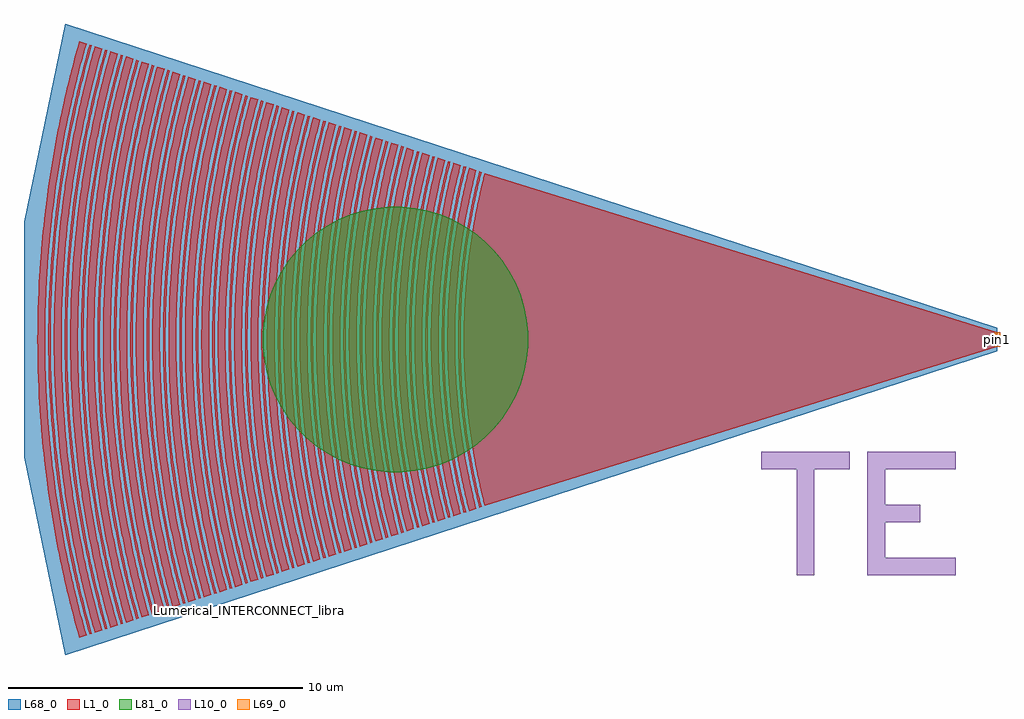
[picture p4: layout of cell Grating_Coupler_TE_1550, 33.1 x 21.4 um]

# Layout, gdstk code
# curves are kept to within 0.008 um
import gdstk
lib = gdstk.Library(unit=1e-6, precision=1e-09)
def P(c, l, *ps):  # polygons
    for p in ps: c.add(gdstk.Polygon(p, *l))
L1_0 = (1, 0)
L10_0 = (10, 0)
L68_0 = (68, 0)
L69_0 = (69, 0)
L81_0 = (81, 0)

te1550_subgc_neg31_oxide = lib.new_cell('TE1550_SubGC_neg31_oxide')
P(te1550_subgc_neg31_oxide, L1_0, [(-18.382,-3.48),(-18.501,-2.574),(-18.568,-1.873),(-18.622,-0.995),(-18.643,-0.117),(-18.629,0.82),(-18.577,1.756),(-18.501,2.574),(-18.382,3.48)],
  [(-18.195,-1.905),(-18.251,-1.033),(-18.274,-0.115),(-18.256,0.918),(-18.233,1.377),(-18.195,1.905)],
  [(-18.938,-3.517),(-19.038,-2.77),(-19.126,-1.869),(-19.177,-1.025),(-19.199,-0.121),(-19.182,0.905),(-19.135,1.748),(-19.038,2.77),(-18.938,3.517)],
  [(-18.751,-1.927),(-18.806,-1.065),(-18.83,-0.118),(-18.823,0.592),(-18.811,0.946),(-18.791,1.36),(-18.751,1.927)],
  [(-19.494,-3.557),(-19.616,-2.603),(-19.689,-1.799),(-19.735,-0.993),(-19.755,-0.124),(-19.742,0.807),(-19.689,1.799),(-19.616,2.603),(-19.494,3.557)],
  [(-19.307,-1.948),(-19.364,-1.035),(-19.386,-0.122),(-19.369,0.913),(-19.349,1.339),(-19.307,1.948)],
  [(-20.05,-3.596),(-20.174,-2.613),(-20.247,-1.786),(-20.293,-0.957),(-20.311,-0.128),(-20.303,0.638),(-20.256,1.658),(-20.174,2.613),(-20.05,3.596)],
  [(-19.863,-1.966),(-19.919,-1.065),(-19.942,-0.125),(-19.937,0.501),(-19.924,0.94),(-19.9,1.44),(-19.863,1.966)],
  [(-20.606,-3.633),(-20.711,-2.815),(-20.801,-1.834),(-20.843,-1.114),(-20.867,-0.131),(-20.853,0.852),(-20.801,1.834),(-20.711,2.815),(-20.606,3.633)],
  [(-20.419,-1.984),(-20.477,-1.03),(-20.498,-0.129),(-20.482,0.901),(-20.458,1.416),(-20.419,1.984)],
  [(-21.162,-3.673),(-21.262,-2.89),(-21.355,-1.883),(-21.401,-1.077),(-21.423,-0.135),(-21.406,0.942),(-21.355,1.883),(-21.262,2.89),(-21.162,3.673)],
  [(-20.975,-2.009),(-21.013,-1.455),(-21.035,-0.992),(-21.054,-0.132),(-21.04,0.86),(-21.013,1.455),(-20.975,2.009)],
  [(-21.079,-6.849),(-21.25,-6.174),(-21.432,-5.359),(-21.599,-4.473),(-21.736,-3.583),(-21.856,-2.552),(-21.923,-1.725),(-21.964,-0.898),(-21.979,-0.138),(-21.964,0.898),(-21.923,1.725),(-21.856,2.552),(-21.772,3.308),(-21.622,4.336),(-21.473,5.155),(-21.298,5.971),(-21.079,6.849),(-20.832,6.769),(-21.048,5.9),(-21.207,5.162),(-21.356,4.353),(-21.47,3.608),(-21.598,2.522),(-21.664,1.705),(-21.702,0.955),(-21.719,0.136),(-21.702,-0.955),(-21.664,-1.705),(-21.598,-2.522),(-21.515,-3.269),(-21.356,-4.353),(-21.207,-5.162),(-21.048,-5.9),(-20.832,-6.769)],
  [(-21.531,-2.035),(-21.575,-1.357),(-21.593,-0.95),(-21.61,-0.136),(-21.606,0.475),(-21.593,0.95),(-21.575,1.357),(-21.531,2.035)],
  [(-22.273,-3.751),(-22.364,-3.04),(-22.452,-2.122),(-22.517,-0.991),(-22.535,-0.142),(-22.522,0.849),(-22.482,1.698),(-22.387,2.828),(-22.273,3.751)],
  [(-22.087,-2.053),(-22.146,-1.044),(-22.166,-0.139),(-22.162,0.487),(-22.146,1.044),(-22.087,2.053)],
  [(-22.829,-3.793),(-22.923,-3.042),(-23.011,-2.102),(-23.067,-1.16),(-23.091,-0.145),(-23.075,0.943),(-23.036,1.74),(-22.946,2.826),(-22.829,3.793)],
  [(-22.642,-2.083),(-22.677,-1.57),(-22.704,-0.999),(-22.722,-0.143),(-22.719,0.428),(-22.704,0.999),(-22.677,1.57),(-22.642,2.083)],
  [(-23.385,-3.827),(-23.498,-2.893),(-23.581,-1.93),(-23.628,-1.04),(-23.647,-0.149),(-23.633,0.891),(-23.586,1.856),(-23.498,2.893),(-23.385,3.827)],
  [(-23.198,-2.104),(-23.227,-1.681),(-23.262,-0.951),(-23.278,-0.146),(-23.276,0.366),(-23.262,0.951),(-23.227,1.681),(-23.198,2.104)],
  [(-23.943,-3.848),(-24.065,-2.81),(-24.135,-1.976),(-24.186,-0.988),(-24.203,-0.152),(-24.191,0.836),(-24.15,1.748),(-24.065,2.81),(-23.943,3.848)],
  [(-23.756,-2.095),(-23.809,-1.198),(-23.834,-0.15),(-23.828,0.599),(-23.815,1.048),(-23.756,2.095)],
  [(-24.499,-3.887),(-24.625,-2.797),(-24.689,-2.021),(-24.739,-1.089),(-24.759,-0.156),(-24.749,0.778),(-24.709,1.71),(-24.625,2.797),(-24.499,3.887)],
  [(-24.312,-2.118),(-24.361,-1.302),(-24.382,-0.69),(-24.39,-0.153),(-24.373,0.996),(-24.341,1.685),(-24.312,2.118)],
  [(-25.055,-3.92),(-25.185,-2.78),(-25.254,-1.908),(-25.3,-0.954),(-25.315,-0.159),(-25.3,0.954),(-25.254,1.908),(-25.185,2.78),(-25.055,3.92)],
  [(-24.868,-2.141),(-24.916,-1.332),(-24.946,-0.157),(-24.931,0.94),(-24.9,1.645),(-24.868,2.141)],
  [(-25.611,-3.958),(-25.722,-3.003),(-25.803,-2.031),(-25.853,-1.056),(-25.871,-0.163),(-25.853,1.056),(-25.803,2.031),(-25.722,3.003),(-25.611,3.958)],
  [(-25.424,-2.162),(-25.478,-1.202),(-25.502,-0.16),(-25.497,0.561),(-25.484,1.041),(-25.455,1.682),(-25.424,2.162)],
  [(-26.167,-3.991),(-26.274,-3.068),(-26.357,-2.074),(-26.402,-1.245),(-26.427,-0.166),(-26.416,0.83),(-26.368,1.909),(-26.298,2.82),(-26.167,3.991)],
  [(-25.98,-2.181),(-26.03,-1.31),(-26.058,-0.164),(-26.045,0.9),(-26.014,1.637),(-25.98,2.181)],
  [(-26.723,-4.029),(-26.843,-2.963),(-26.917,-2.033),(-26.964,-1.102),(-26.983,-0.17),(-26.964,1.102),(-26.917,2.033),(-26.843,2.963),(-26.723,4.029)],
  [(-26.536,-2.2),(-26.589,-1.254),(-26.614,-0.167),(-26.598,1.003),(-26.569,1.672),(-26.536,2.2)],
  [(-27.278,-4.073),(-27.387,-3.111),(-27.466,-2.162),(-27.513,-1.297),(-27.539,-0.087),(-27.525,0.952),(-27.477,1.989),(-27.387,3.111),(-27.278,4.073)],
  [(-27.091,-2.232),(-27.144,-1.28),(-27.163,-0.683),(-27.17,-0.085),(-27.156,0.939),(-27.133,1.536),(-27.091,2.232)],
  [(-27.834,-4.107),(-27.948,-3.085),(-28.026,-2.117),(-28.078,-1.059),(-28.095,-0.088),(-28.078,1.059),(-28.037,1.941),(-27.948,3.085),(-27.834,4.107)],
  [(-27.647,-2.248),(-27.703,-1.219),(-27.726,-0.087),(-27.712,0.958),(-27.688,1.567),(-27.647,2.248)],
  [(-28.39,-4.14),(-28.509,-3.057),(-28.586,-2.069),(-28.639,-0.9),(-28.651,-0.09),(-28.639,0.9),(-28.586,2.069),(-28.509,3.057),(-28.39,4.14)],
  [(-28.203,-2.264),(-28.234,-1.776),(-28.265,-1.066),(-28.282,-0.089),(-28.265,1.066),(-28.234,1.776),(-28.203,2.264)],
  [(-28.946,-4.174),(-29.062,-3.116),(-29.135,-2.201),(-29.186,-1.193),(-29.207,-0.092),(-29.197,0.826),(-29.152,1.926),(-29.062,3.116),(-28.946,4.174)],
  [(-28.759,-2.29),(-28.814,-1.268),(-28.838,-0.091),(-28.834,0.544),(-28.814,1.268),(-28.759,2.29)],
  [(-29.502,-4.207),(-29.615,-3.175),(-29.701,-2.056),(-29.753,-0.841),(-29.763,-0.094),(-29.753,0.841),(-29.701,2.056),(-29.615,3.175),(-29.502,4.207)],
  [(-29.315,-2.307),(-29.373,-1.2),(-29.394,-0.092),(-29.391,0.462),(-29.373,1.2),(-29.315,2.307)],
  [(-30.058,-4.243),(-30.185,-3.045),(-30.25,-2.19),(-30.297,-1.238),(-30.319,-0.095),(-30.306,0.952),(-30.25,2.19),(-30.185,3.045),(-30.058,4.243)],
  [(-29.871,-2.32),(-29.925,-1.317),(-29.944,-0.659),(-29.95,-0.094),(-29.944,0.659),(-29.925,1.317),(-29.871,2.32)],
  [(-30.614,-4.275),(-30.702,-3.487),(-30.798,-2.327),(-30.856,-1.164),(-30.875,-0.097),(-30.862,0.97),(-30.816,2.036),(-30.738,3.101),(-30.614,4.275)],
  [(-30.427,-2.34),(-30.484,-1.246),(-30.506,-0.096),(-30.503,0.479),(-30.484,1.246),(-30.427,2.34)],
  [(-31.17,-4.309),(-31.264,-3.452),(-31.359,-2.27),(-31.408,-1.283),(-31.431,-0.099),(-31.42,0.889),(-31.371,2.073),(-31.3,3.058),(-31.17,4.309)],
  [(-30.983,-2.357),(-31.043,-1.171),(-31.062,-0.098),(-31.059,0.488),(-31.043,1.171),(-30.983,2.357)],
  [(-31.726,-4.337),(-31.826,-3.412),(-31.92,-2.21),(-31.967,-1.206),(-31.987,-0.1),(-31.976,0.904),(-31.926,2.109),(-31.862,3.012),(-31.726,4.337)],
  [(-31.539,-2.382),(-31.595,-1.291),(-31.618,-0.099),(-31.615,0.497),(-31.595,1.291),(-31.539,2.382)],
  [(-32.282,-4.37),(-32.379,-3.472),(-32.468,-2.35),(-32.526,-1.124),(-32.543,-0.102),(-32.529,1.022),(-32.492,1.942),(-32.415,3.064),(-32.282,4.37)],
  [(-32.095,-2.395),(-32.154,-1.213),(-32.174,-0.101),(-32.169,0.606),(-32.154,1.213),(-32.095,2.395)],
  [(-17.378,-5.646),(-17.513,-5.088),(-17.678,-4.303),(-17.788,-3.684),(-17.903,-2.893),(-17.985,-2.157),(-18.043,-1.42),(-18.077,-0.682),(-18.087,-0.114),(-18.08,0.568),(-18.05,1.306),(-17.99,2.101),(-17.924,2.724),(-17.815,3.514),(-17.678,4.303),(-17.513,5.088),(-17.378,5.646),(0,0.25),(0,-0.25)],
  [(-18.751,0.236),(-18.751,1.927),(-18.686,2.6),(-18.571,3.482),(-18.444,4.245),(-18.266,5.121),(-18.084,5.876),(-18.01,5.852),(-18.204,5.041),(-18.368,4.227),(-18.503,3.409),(-18.609,2.589),(-18.706,1.472),(-18.731,1.001)],
  [(-25.424,0.16),(-25.424,2.162),(-25.339,3.12),(-25.255,3.837),(-25.116,4.791),(-24.946,5.741),(-24.709,6.843),(-24.43,7.938),(-24.356,7.914),(-24.634,6.822),(-24.839,5.881),(-25,5.014),(-25.178,3.826),(-25.278,2.952),(-25.352,2.075),(-25.397,1.278)],
  [(-22.273,0.35),(-22.273,3.751),(-22.119,4.726),(-21.971,5.494),(-21.801,6.259),(-21.608,7.021),(-21.361,6.941),(-21.599,5.982),(-21.761,5.224),(-21.889,4.533),(-22.028,3.631),(-22.114,2.935),(-22.193,2.098),(-22.249,1.189)],
  [(-26.167,0.164),(-26.167,3.991),(-26.011,5.047),(-25.815,6.112),(-25.581,7.171),(-25.31,8.224),(-25.062,8.143),(-25.292,7.262),(-25.512,6.295),(-25.7,5.322),(-25.868,4.264),(-26.016,3.038),(-26.098,2.054),(-26.139,1.315)],
  [(-19.863,0.25),(-19.863,1.966),(-19.758,3.002),(-19.635,3.874),(-19.516,4.556),(-19.337,5.421),(-19.142,6.22),(-19.068,6.195),(-19.289,5.277),(-19.44,4.538),(-19.587,3.673),(-19.696,2.866),(-19.772,2.12),(-19.822,1.435),(-19.851,0.811)],
  [(-25.98,0.163),(-25.98,2.181),(-25.891,3.188),(-25.815,3.84),(-25.662,4.895),(-25.472,5.946),(-25.245,6.991),(-24.959,8.11),(-24.884,8.085),(-25.15,7.051),(-25.38,6.009),(-25.572,4.961),(-25.738,3.828),(-25.846,2.853),(-25.917,1.958),(-25.967,0.898)],
  [(-22.087,0.278),(-22.087,2.053),(-22.021,2.782),(-21.957,3.336),(-21.817,4.304),(-21.655,5.199),(-21.494,5.953),(-21.257,6.907),(-21.183,6.883),(-21.419,5.932),(-21.579,5.181),(-21.729,4.358),(-21.871,3.394),(-21.971,2.495),(-22.027,1.803),(-22.068,1.041)],
  [(-26.723,0.168),(-26.723,4.029),(-26.557,5.152),(-26.356,6.24),(-26.156,7.155),(-25.838,8.395),(-25.591,8.315),(-25.866,7.251),(-26.086,6.263),(-26.259,5.352),(-26.44,4.188),(-26.568,3.102),(-26.658,2.014),(-26.707,1.007)],
  [(-18.382,0.231),(-18.382,3.48),(-18.184,4.608),(-18.047,5.243),(-17.906,5.818),(-17.659,5.738),(-17.81,5.114),(-17.932,4.544),(-18.068,3.801),(-18.188,2.998),(-18.314,1.789),(-18.36,1.039)],
  [(-26.536,0.167),(-26.536,2.2),(-26.468,3.006),(-26.365,3.921),(-26.208,4.999),(-25.997,6.155),(-25.761,7.222),(-25.487,8.281),(-25.413,8.257),(-25.686,7.201),(-25.921,6.137),(-26.118,5.067),(-26.288,3.91),(-26.374,3.164),(-26.466,2.083),(-26.511,1.25)],
  [(-22.829,0.359),(-22.829,3.793),(-22.688,4.698),(-22.54,5.486),(-22.369,6.271),(-22.137,7.193),(-21.89,7.112),(-22.102,6.271),(-22.287,5.425),(-22.481,4.362),(-22.596,3.579),(-22.688,2.794),(-22.752,2.079),(-22.804,1.219)],
  [(-27.278,0.257),(-27.278,4.073),(-27.117,5.173),(-26.897,6.368),(-26.652,7.471),(-26.367,8.567),(-26.12,8.487),(-26.381,7.485),(-26.644,6.308),(-26.833,5.294),(-26.989,4.275),(-27.084,3.508),(-27.188,2.398),(-27.253,1.285)],
  [(-20.606,0.259),(-20.606,3.633),(-20.488,4.377),(-20.353,5.09),(-20.167,5.928),(-20.022,6.505),(-19.774,6.425),(-19.948,5.727),(-20.139,4.835),(-20.277,4.066),(-20.382,3.36),(-20.474,2.586),(-20.542,1.812),(-20.586,1.036)],
  [(-27.091,0.255),(-27.091,2.232),(-27.012,3.154),(-26.893,4.173),(-26.726,5.272),(-26.538,6.283),(-26.256,7.539),(-26.016,8.453),(-25.942,8.429),(-26.181,7.517),(-26.445,6.349),(-26.664,5.173),(-26.827,4.076),(-26.943,3.06),(-27.026,2.042),(-27.066,1.276)],
  [(-22.642,0.356),(-22.642,2.083),(-22.58,2.78),(-22.488,3.562),(-22.374,4.341),(-22.195,5.329),(-22.03,6.101),(-21.786,7.079),(-21.712,7.055),(-21.922,6.22),(-22.105,5.381),(-22.274,4.467),(-22.411,3.55),(-22.495,2.842),(-22.566,2.062),(-22.614,1.28)],
  [(-27.834,0.262),(-27.834,4.107),(-27.663,5.277),(-27.438,6.496),(-27.208,7.535),(-26.896,8.739),(-26.649,8.659),(-26.874,7.808),(-27.113,6.78),(-27.318,5.747),(-27.514,4.535),(-27.645,3.492),(-27.742,2.447),(-27.805,1.399)],
  [(-19.494,0.245),(-19.494,3.557),(-19.379,4.268),(-19.262,4.881),(-19.129,5.492),(-18.964,6.162),(-18.717,6.081),(-18.879,5.421),(-19.046,4.636),(-19.146,4.091),(-19.277,3.24),(-19.371,2.447),(-19.43,1.775),(-19.47,1.102)],
  [(-27.647,0.261),(-27.647,2.248),(-27.573,3.132),(-27.465,4.085),(-27.286,5.294),(-27.079,6.411),(-26.832,7.522),(-26.545,8.625),(-26.471,8.601),(-26.777,7.416),(-27.003,6.393),(-27.195,5.365),(-27.365,4.246),(-27.487,3.209),(-27.562,2.344),(-27.618,1.389)],
  [(-23.385,0.367),(-23.385,3.827),(-23.27,4.591),(-23.095,5.545),(-22.887,6.494),(-22.666,7.364),(-22.418,7.284),(-22.654,6.351),(-22.842,5.484),(-22.978,4.758),(-23.115,3.885),(-23.208,3.154),(-23.3,2.202),(-23.356,1.322)],
  [(-28.39,0.268),(-28.39,4.14),(-28.238,5.203),(-28.015,6.447),(-27.743,7.684),(-27.425,8.911),(-27.177,8.83),(-27.408,7.963),(-27.671,6.827),(-27.878,5.773),(-28.05,4.714),(-28.187,3.651),(-28.296,2.495),(-28.364,1.338)],
  [(-20.419,0.257),(-20.419,1.984),(-20.331,2.893),(-20.22,3.726),(-20.069,4.619),(-19.872,5.571),(-19.671,6.391),(-19.597,6.367),(-19.797,5.55),(-20.005,4.538),(-20.153,3.648),(-20.246,2.946),(-20.325,2.179),(-20.369,1.603),(-20.404,0.898)],
  [(-28.203,0.266),(-28.203,2.264),(-28.134,3.106),(-28.015,4.167),(-27.832,5.4),(-27.62,6.539),(-27.346,7.759),(-27.074,8.797),(-27,8.773),(-27.292,7.651),(-27.544,6.521),(-27.77,5.297),(-27.926,4.243),(-28.048,3.186),(-28.129,2.214),(-28.184,1.152)],
  [(-23.198,0.364),(-23.198,2.104),(-23.139,2.776),(-23.047,3.576),(-22.895,4.592),(-22.736,5.458),(-22.549,6.321),(-22.315,7.25),(-22.24,7.226),(-22.457,6.372),(-22.646,5.512),(-22.843,4.432),(-22.979,3.492),(-23.069,2.694),(-23.125,2.039),(-23.169,1.312)],
  [(-28.946,0.273),(-28.946,4.174),(-28.785,5.304),(-28.677,5.939),(-28.52,6.752),(-28.258,7.922),(-27.953,9.083),(-27.706,9.002),(-27.986,7.94),(-28.23,6.871),(-28.454,5.706),(-28.624,4.626),(-28.758,3.541),(-28.863,2.363),(-28.923,1.273)],
  [(-18.938,0.238),(-18.938,3.517),(-18.836,4.148),(-18.723,4.744),(-18.581,5.398),(-18.435,5.99),(-18.188,5.91),(-18.358,5.209),(-18.517,4.445),(-18.651,3.679),(-18.744,3.029),(-18.831,2.259),(-18.876,1.724),(-18.92,0.952)],
  [(-28.759,0.271),(-28.759,2.29),(-28.678,3.257),(-28.565,4.249),(-28.378,5.506),(-28.161,6.667),(-27.924,7.733),(-27.603,8.969),(-27.528,8.944),(-27.806,7.889),(-28.085,6.649),(-28.316,5.402),(-28.476,4.327),(-28.582,3.428),(-28.677,2.348),(-28.736,1.265)],
  [(-23.943,0.15),(-23.943,3.848),(-23.79,4.849),(-23.605,5.824),(-23.404,6.72),(-23.194,7.536),(-22.947,7.456),(-23.172,6.574),(-23.368,5.688),(-23.535,4.797),(-23.684,3.827),(-23.807,2.78),(-23.876,1.955),(-23.921,1.128)],
  [(-29.502,0.278),(-29.502,4.207),(-29.403,4.941),(-29.286,5.682),(-29.08,6.788),(-28.771,8.163),(-28.482,9.254),(-28.235,9.174),(-28.543,8.001),(-28.77,7.003),(-28.983,5.907),(-29.173,4.714),(-29.31,3.609),(-29.424,2.316),(-29.478,1.297)],
  [(-21.162,0.266),(-21.162,3.673),(-21.043,4.427),(-20.906,5.158),(-20.732,5.953),(-20.55,6.677),(-20.303,6.597),(-20.542,5.62),(-20.705,4.833),(-20.822,4.176),(-20.957,3.252),(-21.039,2.524),(-21.096,1.86),(-21.144,0.997)],
  [(-29.315,0.276),(-29.315,2.307),(-29.221,3.412),(-29.078,4.605),(-28.954,5.429),(-28.86,5.977),(-28.645,7.068),(-28.416,8.062),(-28.131,9.14),(-28.057,9.116),(-28.363,7.951),(-28.626,6.777),(-28.816,5.779),(-29.001,4.593),(-29.134,3.495),(-29.231,2.393),(-29.288,1.381)],
  [(-23.756,0.149),(-23.756,2.095),(-23.691,2.842),(-23.606,3.587),(-23.441,4.701),(-23.277,5.588),(-23.067,6.545),(-22.843,7.422),(-22.769,7.398),(-22.992,6.523),(-23.201,5.57),(-23.389,4.538),(-23.538,3.501),(-23.642,2.535),(-23.704,1.716),(-23.742,0.895)],
  [(-30.058,0.283),(-30.058,4.243),(-29.863,5.599),(-29.659,6.727),(-29.351,8.129),(-29.011,9.426),(-28.764,9.346),(-29.078,8.152),(-29.33,7.041),(-29.528,6.018),(-29.735,4.709),(-29.872,3.583),(-29.978,2.359),(-30.034,1.322)],
  [(-19.307,0.243),(-19.307,1.948),(-19.223,2.797),(-19.099,3.705),(-18.986,4.369),(-18.815,5.211),(-18.613,6.048),(-18.539,6.024),(-18.713,5.309),(-18.876,4.532),(-19.013,3.751),(-19.131,2.907),(-19.203,2.242),(-19.264,1.455),(-19.291,0.91)],
  [(-29.871,0.282),(-29.871,2.32),(-29.792,3.289),(-29.64,4.599),(-29.437,5.904),(-29.224,7.016),(-28.928,8.306),(-28.66,9.312),(-28.586,9.288),(-28.898,8.101),(-29.148,6.998),(-29.393,5.703),(-29.563,4.587),(-29.696,3.467),(-29.785,2.438),(-29.847,1.314)],
  [(-24.499,0.154),(-24.499,3.887),(-24.348,4.883),(-24.145,5.957),(-23.957,6.797),(-23.723,7.708),(-23.476,7.628),(-23.724,6.651),(-23.908,5.819),(-24.093,4.832),(-24.233,3.916),(-24.359,2.844),(-24.43,2),(-24.482,1)],
  [(-30.614,0.289),(-30.614,4.275),(-30.425,5.606),(-30.163,7.041),(-29.864,8.372),(-29.54,9.598),(-29.293,9.518),(-29.567,8.489),(-29.85,7.266),(-30.106,5.939),(-30.257,4.987),(-30.403,3.841),(-30.511,2.691),(-30.577,1.635)],
  [(-20.975,0.264),(-20.975,2.009),(-20.931,2.511),(-20.849,3.235),(-20.726,4.089),(-20.599,4.809),(-20.437,5.591),(-20.199,6.563),(-20.125,6.539),(-20.347,5.635),(-20.498,4.921),(-20.649,4.074),(-20.772,3.223),(-20.86,2.436),(-20.923,1.647),(-20.962,0.857)],
  [(-30.427,0.287),(-30.427,2.34),(-30.335,3.445),(-30.202,4.589),(-29.999,5.918),(-29.784,7.052),(-29.554,8.085),(-29.391,8.739),(-29.189,9.484),(-29.115,9.46),(-29.456,8.158),(-29.708,7.034),(-29.838,6.375),(-29.97,5.62),(-30.125,4.577),(-30.248,3.532),(-30.346,2.388),(-30.406,1.242)],
  [(-24.312,0.153),(-24.312,2.118),(-24.243,2.908),(-24.165,3.594),(-24.011,4.659),(-23.832,5.643),(-23.602,6.696),(-23.372,7.594),(-23.298,7.57),(-23.562,6.525),(-23.801,5.399),(-23.971,4.417),(-24.088,3.583),(-24.188,2.67),(-24.249,1.908),(-24.295,0.993)],
  [(-31.17,0.294),(-31.167,4.336),(-30.972,5.707),(-30.724,7.071),(-30.423,8.425),(-30.069,9.77),(-29.821,9.69),(-30.149,8.452),(-30.411,7.301),(-30.6,6.337),(-30.819,4.981),(-30.944,4.008),(-31.065,2.74),(-31.141,1.469)],
  [(-18.195,0.229),(-18.195,1.905),(-18.109,2.752),(-18.016,3.437),(-17.881,4.233),(-17.743,4.914),(-17.556,5.704),(-17.481,5.68),(-17.643,5.006),(-17.784,4.329),(-17.922,3.536),(-18.032,2.74),(-18.104,2.056),(-18.148,1.486),(-18.178,0.914)],
  [(-30.983,0.292),(-30.983,2.357),(-30.897,3.411),(-30.752,4.673),(-30.561,5.929),(-30.345,7.084),(-30.044,8.422),(-29.718,9.656),(-29.643,9.632),(-29.922,8.591),(-30.209,7.353),(-30.417,6.299),(-30.635,4.951),(-30.78,3.79),(-30.879,2.723),(-30.95,1.557)],
  [(-25.055,0.157),(-25.055,3.92),(-24.893,4.992),(-24.717,5.934),(-24.473,7.027),(-24.252,7.88),(-24.005,7.8),(-24.26,6.801),(-24.464,5.873),(-24.638,4.941),(-24.782,4.005),(-24.887,3.144),(-24.973,2.202),(-25.025,1.338)],
  [(-31.726,0.299),(-31.726,4.337),(-31.535,5.708),(-31.266,7.195),(-31.006,8.378),(-30.836,9.064),(-30.597,9.942),(-30.35,9.861),(-30.636,8.796),(-30.931,7.529),(-31.18,6.253),(-31.354,5.168),(-31.495,4.079),(-31.619,2.789),(-31.692,1.594)],
  [(-20.05,0.252),(-20.05,3.596),(-19.839,4.829),(-19.678,5.583),(-19.493,6.334),(-19.246,6.253),(-19.399,5.636),(-19.574,4.829),(-19.742,3.895),(-19.842,3.207),(-19.929,2.454),(-19.997,1.637),(-20.033,0.945)],
  [(-31.539,0.297),(-31.539,2.382),(-31.43,3.67),(-31.288,4.855),(-31.107,6.035),(-30.866,7.308),(-30.603,8.475),(-30.406,9.25),(-30.246,9.828),(-30.172,9.804),(-30.357,9.131),(-30.528,8.455),(-30.77,7.387),(-30.907,6.705),(-31.047,5.922),(-31.211,4.843),(-31.342,3.759),(-31.44,2.673),(-31.505,1.585)],
  [(-24.868,0.156),(-24.868,2.141),(-24.803,2.896),(-24.725,3.598),(-24.582,4.609),(-24.389,5.693),(-24.137,6.848),(-23.901,7.766),(-23.827,7.742),(-24.098,6.674),(-24.313,5.676),(-24.493,4.672),(-24.638,3.665),(-24.733,2.809),(-24.803,1.952),(-24.848,1.094)],
  [(-32.282,0.304),(-32.282,4.37),(-32.268,4.489),(-32.082,5.807),(-31.828,7.219),(-31.658,8.022),(-31.47,8.822),(-31.126,10.114),(-30.879,10.033),(-31.195,8.851),(-31.471,7.66),(-31.725,6.362),(-31.917,5.158),(-32.058,4.05),(-32.173,2.837),(-32.247,1.622)],
  [(-21.531,0.271),(-21.531,2.035),(-21.483,2.577),(-21.407,3.253),(-21.293,4.062),(-21.101,5.136),(-20.912,6.004),(-20.728,6.735),(-20.654,6.711),(-20.868,5.85),(-21.025,5.118),(-21.195,4.181),(-21.33,3.241),(-21.412,2.5),(-21.473,1.758),(-21.515,0.947)],
  [(-32.095,0.302),(-32.095,2.395),(-31.982,3.734),(-31.851,4.84),(-31.686,5.941),(-31.564,6.64),(-31.428,7.337),(-31.139,8.624),(-30.99,9.215),(-30.775,9.999),(-30.701,9.975),(-31.015,8.8),(-31.18,8.11),(-31.352,7.319),(-31.593,6.027),(-31.774,4.828),(-31.915,3.625),(-32.009,2.519),(-32.069,1.411)],
  [(-25.611,0.161),(-25.611,3.958),(-25.465,4.941),(-25.274,5.984),(-25.064,6.942),(-24.781,8.052),(-24.533,7.971),(-24.738,7.187),(-24.972,6.161),(-25.127,5.368),(-25.308,4.253),(-25.447,3.133),(-25.544,2.01),(-25.593,1.046)],
  [(-26.545,-8.625),(-26.832,-7.522),(-27.079,-6.411),(-27.286,-5.294),(-27.465,-4.085),(-27.573,-3.132),(-27.647,-2.248),(-27.647,-0.261),(-27.618,-1.389),(-27.562,-2.344),(-27.487,-3.209),(-27.365,-4.246),(-27.195,-5.365),(-27.003,-6.393),(-26.777,-7.416),(-26.471,-8.601)],
  [(-22.137,-7.193),(-22.369,-6.271),(-22.54,-5.486),(-22.688,-4.698),(-22.829,-3.793),(-22.829,-0.359),(-22.804,-1.219),(-22.752,-2.079),(-22.688,-2.794),(-22.596,-3.579),(-22.481,-4.362),(-22.287,-5.425),(-22.102,-6.271),(-21.89,-7.112)],
  [(-24.252,-7.88),(-24.473,-7.027),(-24.717,-5.934),(-24.893,-4.992),(-25.055,-3.92),(-25.055,-0.157),(-25.025,-1.338),(-24.973,-2.202),(-24.887,-3.144),(-24.782,-4.005),(-24.638,-4.941),(-24.464,-5.873),(-24.26,-6.801),(-24.005,-7.8)],
  [(-27.425,-8.911),(-27.743,-7.684),(-28.015,-6.447),(-28.238,-5.203),(-28.39,-4.14),(-28.39,-0.268),(-28.364,-1.338),(-28.296,-2.495),(-28.187,-3.651),(-28.05,-4.714),(-27.878,-5.773),(-27.671,-6.827),(-27.408,-7.963),(-27.177,-8.83)],
  [(-17.556,-5.704),(-17.743,-4.914),(-17.881,-4.233),(-18.016,-3.437),(-18.109,-2.752),(-18.195,-1.905),(-18.195,-0.229),(-18.178,-0.914),(-18.148,-1.486),(-18.104,-2.056),(-18.032,-2.74),(-17.922,-3.536),(-17.784,-4.329),(-17.643,-5.006),(-17.481,-5.68)],
  [(-19.142,-6.22),(-19.337,-5.421),(-19.516,-4.556),(-19.635,-3.874),(-19.758,-3.002),(-19.863,-1.966),(-19.863,-0.25),(-19.851,-0.811),(-19.822,-1.435),(-19.772,-2.12),(-19.696,-2.866),(-19.587,-3.673),(-19.44,-4.538),(-19.289,-5.277),(-19.068,-6.195)],
  [(-27.074,-8.797),(-27.346,-7.759),(-27.62,-6.539),(-27.832,-5.4),(-28.015,-4.167),(-28.134,-3.106),(-28.203,-2.264),(-28.203,-0.266),(-28.184,-1.152),(-28.129,-2.214),(-28.048,-3.186),(-27.926,-4.243),(-27.77,-5.297),(-27.544,-6.521),(-27.292,-7.651),(-27,-8.773)],
  [(-23.901,-7.766),(-24.137,-6.848),(-24.389,-5.693),(-24.582,-4.609),(-24.725,-3.598),(-24.803,-2.896),(-24.868,-2.141),(-24.868,-0.156),(-24.848,-1.094),(-24.803,-1.952),(-24.733,-2.809),(-24.638,-3.665),(-24.493,-4.672),(-24.313,-5.676),(-24.098,-6.674),(-23.827,-7.742)],
  [(-21.786,-7.079),(-22.03,-6.101),(-22.195,-5.329),(-22.374,-4.341),(-22.488,-3.562),(-22.58,-2.78),(-22.642,-2.083),(-22.642,-0.356),(-22.614,-1.28),(-22.566,-2.062),(-22.495,-2.842),(-22.411,-3.55),(-22.274,-4.467),(-22.105,-5.381),(-21.922,-6.22),(-21.712,-7.055)],
  [(-27.953,-9.083),(-28.258,-7.922),(-28.52,-6.752),(-28.677,-5.939),(-28.785,-5.304),(-28.946,-4.174),(-28.946,-0.273),(-28.923,-1.273),(-28.863,-2.363),(-28.758,-3.541),(-28.624,-4.626),(-28.454,-5.706),(-28.23,-6.871),(-27.986,-7.94),(-27.706,-9.002)],
  [(-20.199,-6.563),(-20.437,-5.591),(-20.599,-4.809),(-20.726,-4.089),(-20.849,-3.235),(-20.931,-2.511),(-20.975,-2.009),(-20.975,-0.264),(-20.962,-0.857),(-20.923,-1.647),(-20.86,-2.436),(-20.772,-3.223),(-20.649,-4.074),(-20.498,-4.921),(-20.347,-5.635),(-20.125,-6.539)],
  [(-24.781,-8.052),(-25.064,-6.942),(-25.274,-5.984),(-25.465,-4.941),(-25.611,-3.958),(-25.611,-0.161),(-25.593,-1.046),(-25.544,-2.01),(-25.447,-3.133),(-25.308,-4.253),(-25.183,-5.05),(-24.972,-6.161),(-24.738,-7.187),(-24.533,-7.971)],
  [(-27.603,-8.969),(-27.924,-7.733),(-28.161,-6.667),(-28.378,-5.506),(-28.565,-4.249),(-28.678,-3.257),(-28.759,-2.29),(-28.759,-0.271),(-28.736,-1.265),(-28.677,-2.348),(-28.582,-3.428),(-28.476,-4.327),(-28.316,-5.402),(-28.085,-6.649),(-27.806,-7.889),(-27.528,-8.944)],
  [(-18.084,-5.876),(-18.266,-5.121),(-18.444,-4.245),(-18.571,-3.482),(-18.686,-2.6),(-18.751,-1.927),(-18.751,-0.236),(-18.731,-1.001),(-18.706,-1.472),(-18.609,-2.589),(-18.503,-3.409),(-18.368,-4.227),(-18.204,-5.041),(-18.01,-5.852)],
  [(-22.666,-7.364),(-22.887,-6.494),(-23.095,-5.545),(-23.27,-4.591),(-23.385,-3.827),(-23.385,-0.367),(-23.356,-1.322),(-23.3,-2.202),(-23.208,-3.154),(-23.115,-3.885),(-22.978,-4.758),(-22.842,-5.484),(-22.654,-6.351),(-22.418,-7.284)],
  [(-28.482,-9.254),(-28.771,-8.163),(-29.08,-6.788),(-29.286,-5.682),(-29.403,-4.941),(-29.502,-4.207),(-29.502,-0.278),(-29.478,-1.297),(-29.424,-2.316),(-29.31,-3.609),(-29.173,-4.714),(-28.983,-5.907),(-28.77,-7.003),(-28.543,-8.001),(-28.235,-9.174)],
  [(-24.43,-7.938),(-24.709,-6.843),(-24.946,-5.741),(-25.116,-4.791),(-25.255,-3.837),(-25.339,-3.12),(-25.424,-2.162),(-25.424,-0.16),(-25.397,-1.278),(-25.352,-2.075),(-25.278,-2.952),(-25.178,-3.826),(-25,-5.014),(-24.839,-5.881),(-24.634,-6.822),(-24.356,-7.914)],
  [(-18.613,-6.048),(-18.815,-5.211),(-18.986,-4.369),(-19.099,-3.705),(-19.223,-2.797),(-19.307,-1.948),(-19.307,-0.243),(-19.291,-0.91),(-19.264,-1.455),(-19.203,-2.242),(-19.131,-2.907),(-19.013,-3.751),(-18.876,-4.532),(-18.713,-5.309),(-18.539,-6.024)],
  [(-28.131,-9.14),(-28.416,-8.062),(-28.645,-7.068),(-28.86,-5.977),(-28.954,-5.429),(-29.078,-4.605),(-29.221,-3.412),(-29.315,-2.307),(-29.315,-0.276),(-29.288,-1.381),(-29.231,-2.393),(-29.134,-3.495),(-29.001,-4.593),(-28.816,-5.779),(-28.626,-6.777),(-28.363,-7.951),(-28.057,-9.116)],
  [(-20.022,-6.505),(-20.167,-5.928),(-20.353,-5.09),(-20.488,-4.377),(-20.606,-3.633),(-20.606,-0.259),(-20.586,-1.036),(-20.542,-1.812),(-20.474,-2.586),(-20.382,-3.36),(-20.277,-4.066),(-20.139,-4.835),(-19.948,-5.727),(-19.774,-6.425)],
  [(-25.31,-8.224),(-25.581,-7.171),(-25.815,-6.112),(-26.011,-5.047),(-26.167,-3.991),(-26.167,-0.164),(-26.139,-1.315),(-26.098,-2.054),(-26.016,-3.038),(-25.868,-4.264),(-25.7,-5.322),(-25.512,-6.295),(-25.292,-7.262),(-25.062,-8.143)],
  [(-29.011,-9.426),(-29.351,-8.129),(-29.659,-6.727),(-29.863,-5.599),(-30.058,-4.243),(-30.058,-0.283),(-30.034,-1.322),(-29.978,-2.359),(-29.872,-3.583),(-29.735,-4.709),(-29.528,-6.018),(-29.33,-7.041),(-29.078,-8.152),(-28.764,-9.346)],
  [(-22.315,-7.25),(-22.549,-6.321),(-22.736,-5.458),(-22.895,-4.592),(-23.047,-3.576),(-23.139,-2.776),(-23.198,-2.104),(-23.198,-0.364),(-23.169,-1.312),(-23.125,-2.039),(-23.069,-2.694),(-22.979,-3.492),(-22.843,-4.432),(-22.646,-5.512),(-22.457,-6.372),(-22.24,-7.226)],
  [(-20.728,-6.735),(-20.912,-6.004),(-21.101,-5.136),(-21.293,-4.062),(-21.407,-3.253),(-21.483,-2.577),(-21.531,-2.035),(-21.531,-0.271),(-21.515,-0.947),(-21.473,-1.758),(-21.412,-2.5),(-21.33,-3.241),(-21.195,-4.181),(-21.025,-5.118),(-20.868,-5.85),(-20.654,-6.711)],
  [(-28.66,-9.312),(-28.928,-8.306),(-29.224,-7.016),(-29.437,-5.904),(-29.64,-4.599),(-29.792,-3.289),(-29.871,-2.32),(-29.871,-0.282),(-29.847,-1.314),(-29.785,-2.438),(-29.696,-3.467),(-29.563,-4.587),(-29.393,-5.703),(-29.148,-6.998),(-28.898,-8.101),(-28.586,-9.288)],
  [(-24.959,-8.11),(-25.245,-6.991),(-25.472,-5.946),(-25.662,-4.895),(-25.815,-3.84),(-25.891,-3.188),(-25.98,-2.181),(-25.98,-0.163),(-25.967,-0.898),(-25.917,-1.958),(-25.846,-2.853),(-25.738,-3.828),(-25.572,-4.961),(-25.38,-6.009),(-25.15,-7.051),(-24.884,-8.085)],
  [(-18.435,-5.99),(-18.581,-5.398),(-18.723,-4.744),(-18.836,-4.148),(-18.938,-3.517),(-18.938,-0.238),(-18.92,-0.952),(-18.876,-1.724),(-18.831,-2.259),(-18.744,-3.029),(-18.651,-3.679),(-18.517,-4.445),(-18.358,-5.209),(-18.188,-5.91)],
  [(-29.54,-9.598),(-29.864,-8.372),(-30.163,-7.041),(-30.425,-5.606),(-30.614,-4.275),(-30.614,-0.289),(-30.577,-1.635),(-30.511,-2.691),(-30.403,-3.841),(-30.257,-4.987),(-30.106,-5.939),(-29.85,-7.266),(-29.567,-8.489),(-29.293,-9.518)],
  [(-23.194,-7.536),(-23.404,-6.72),(-23.605,-5.824),(-23.79,-4.849),(-23.943,-3.848),(-23.943,-0.15),(-23.921,-1.128),(-23.876,-1.955),(-23.807,-2.78),(-23.684,-3.827),(-23.535,-4.797),(-23.368,-5.688),(-23.172,-6.574),(-22.947,-7.456)],
  [(-25.838,-8.395),(-26.156,-7.155),(-26.356,-6.24),(-26.557,-5.152),(-26.723,-4.029),(-26.723,-0.168),(-26.707,-1.007),(-26.658,-2.014),(-26.568,-3.102),(-26.44,-4.188),(-26.259,-5.352),(-26.086,-6.263),(-25.866,-7.251),(-25.591,-8.315)],
  [(-29.189,-9.484),(-29.391,-8.739),(-29.554,-8.085),(-29.784,-7.052),(-29.999,-5.918),(-30.202,-4.589),(-30.335,-3.445),(-30.427,-2.34),(-30.427,-0.287),(-30.406,-1.242),(-30.346,-2.388),(-30.248,-3.532),(-30.125,-4.577),(-29.97,-5.62),(-29.838,-6.375),(-29.708,-7.034),(-29.456,-8.158),(-29.115,-9.46)],
  [(-17.906,-5.818),(-18.047,-5.243),(-18.184,-4.608),(-18.382,-3.48),(-18.382,-0.231),(-18.36,-1.039),(-18.314,-1.789),(-18.188,-2.998),(-18.068,-3.801),(-17.932,-4.544),(-17.81,-5.114),(-17.659,-5.738)],
  [(-21.608,-7.021),(-21.801,-6.259),(-21.971,-5.494),(-22.119,-4.726),(-22.273,-3.751),(-22.273,-0.35),(-22.249,-1.189),(-22.193,-2.098),(-22.114,-2.935),(-22.028,-3.631),(-21.889,-4.533),(-21.761,-5.224),(-21.599,-5.982),(-21.361,-6.941)],
  [(-30.069,-9.77),(-30.423,-8.425),(-30.724,-7.071),(-30.972,-5.707),(-31.167,-4.336),(-31.17,-0.294),(-31.141,-1.469),(-31.065,-2.74),(-30.944,-4.008),(-30.819,-4.981),(-30.6,-6.337),(-30.411,-7.301),(-30.149,-8.452),(-29.821,-9.69)],
  [(-25.487,-8.281),(-25.761,-7.222),(-25.997,-6.155),(-26.208,-4.999),(-26.365,-3.921),(-26.468,-3.006),(-26.536,-2.2),(-26.536,-0.167),(-26.511,-1.25),(-26.466,-2.083),(-26.374,-3.164),(-26.288,-3.91),(-26.118,-5.067),(-25.921,-6.137),(-25.686,-7.201),(-25.413,-8.257)],
  [(-22.843,-7.422),(-23.067,-6.545),(-23.277,-5.588),(-23.441,-4.701),(-23.606,-3.587),(-23.691,-2.842),(-23.756,-2.095),(-23.756,-0.149),(-23.742,-0.895),(-23.704,-1.716),(-23.642,-2.535),(-23.538,-3.501),(-23.389,-4.538),(-23.201,-5.57),(-22.992,-6.523),(-22.769,-7.398)],
  [(-29.718,-9.656),(-30.044,-8.422),(-30.345,-7.084),(-30.561,-5.929),(-30.752,-4.673),(-30.897,-3.411),(-30.983,-2.357),(-30.983,-0.292),(-30.95,-1.557),(-30.879,-2.723),(-30.78,-3.79),(-30.635,-4.951),(-30.417,-6.299),(-30.209,-7.353),(-29.922,-8.591),(-29.643,-9.632)],
  [(-19.671,-6.391),(-19.872,-5.571),(-20.069,-4.619),(-20.22,-3.726),(-20.331,-2.893),(-20.419,-1.984),(-20.419,-0.257),(-20.404,-0.898),(-20.369,-1.603),(-20.325,-2.179),(-20.246,-2.946),(-20.153,-3.648),(-20.005,-4.538),(-19.797,-5.55),(-19.597,-6.367)],
  [(-26.367,-8.567),(-26.652,-7.471),(-26.897,-6.368),(-27.117,-5.173),(-27.278,-4.073),(-27.278,-0.257),(-27.253,-1.285),(-27.188,-2.398),(-27.084,-3.508),(-26.989,-4.275),(-26.833,-5.294),(-26.644,-6.308),(-26.381,-7.485),(-26.12,-8.487)],
  [(-30.597,-9.942),(-30.836,-9.064),(-31.006,-8.378),(-31.266,-7.195),(-31.535,-5.708),(-31.726,-4.337),(-31.726,-0.299),(-31.692,-1.594),(-31.619,-2.789),(-31.495,-4.079),(-31.354,-5.168),(-31.18,-6.253),(-30.931,-7.529),(-30.636,-8.796),(-30.35,-9.861)],
  [(-19.493,-6.334),(-19.678,-5.583),(-19.839,-4.829),(-20.05,-3.596),(-20.05,-0.252),(-20.033,-0.945),(-19.997,-1.637),(-19.929,-2.454),(-19.842,-3.207),(-19.742,-3.895),(-19.574,-4.829),(-19.399,-5.636),(-19.246,-6.253)],
  [(-23.723,-7.708),(-23.957,-6.797),(-24.145,-5.957),(-24.348,-4.883),(-24.499,-3.887),(-24.499,-0.154),(-24.482,-1),(-24.43,-2),(-24.359,-2.844),(-24.233,-3.916),(-24.093,-4.832),(-23.908,-5.819),(-23.724,-6.651),(-23.476,-7.628)],
  [(-30.246,-9.828),(-30.406,-9.25),(-30.603,-8.475),(-30.866,-7.308),(-31.107,-6.035),(-31.288,-4.855),(-31.43,-3.67),(-31.539,-2.382),(-31.539,-0.297),(-31.505,-1.585),(-31.44,-2.673),(-31.342,-3.759),(-31.211,-4.843),(-31.047,-5.922),(-30.907,-6.705),(-30.77,-7.387),(-30.528,-8.455),(-30.357,-9.131),(-30.172,-9.804)],
  [(-26.016,-8.453),(-26.256,-7.539),(-26.538,-6.283),(-26.726,-5.272),(-26.893,-4.173),(-27.012,-3.154),(-27.091,-2.232),(-27.091,-0.255),(-27.066,-1.276),(-27.026,-2.042),(-26.943,-3.06),(-26.827,-4.076),(-26.664,-5.173),(-26.445,-6.349),(-26.181,-7.517),(-25.942,-8.429)],
  [(-21.257,-6.907),(-21.494,-5.953),(-21.655,-5.199),(-21.817,-4.304),(-21.957,-3.336),(-22.021,-2.782),(-22.087,-2.053),(-22.087,-0.278),(-22.068,-1.041),(-22.027,-1.803),(-21.971,-2.495),(-21.871,-3.394),(-21.729,-4.358),(-21.579,-5.181),(-21.419,-5.932),(-21.183,-6.883)],
  [(-31.126,-10.114),(-31.47,-8.822),(-31.658,-8.022),(-31.828,-7.219),(-32.082,-5.807),(-32.268,-4.489),(-32.282,-4.37),(-32.282,-0.304),(-32.247,-1.622),(-32.173,-2.837),(-32.058,-4.05),(-31.917,-5.158),(-31.725,-6.362),(-31.471,-7.66),(-31.195,-8.851),(-30.879,-10.033)],
  [(-18.964,-6.162),(-19.129,-5.492),(-19.262,-4.881),(-19.379,-4.268),(-19.494,-3.557),(-19.494,-0.245),(-19.47,-1.102),(-19.43,-1.775),(-19.371,-2.447),(-19.277,-3.24),(-19.146,-4.091),(-19.046,-4.636),(-18.879,-5.421),(-18.717,-6.081)],
  [(-26.896,-8.739),(-27.208,-7.535),(-27.438,-6.496),(-27.663,-5.277),(-27.834,-4.107),(-27.834,-0.262),(-27.805,-1.399),(-27.742,-2.447),(-27.645,-3.492),(-27.514,-4.535),(-27.318,-5.747),(-27.113,-6.78),(-26.874,-7.808),(-26.649,-8.659)],
  [(-30.775,-9.999),(-30.99,-9.215),(-31.139,-8.624),(-31.428,-7.337),(-31.564,-6.64),(-31.686,-5.941),(-31.851,-4.84),(-31.982,-3.734),(-32.095,-2.395),(-32.095,-0.302),(-32.069,-1.411),(-32.009,-2.519),(-31.915,-3.625),(-31.774,-4.828),(-31.593,-6.027),(-31.352,-7.319),(-31.18,-8.11),(-31.015,-8.8),(-30.701,-9.975)],
  [(-23.372,-7.594),(-23.602,-6.696),(-23.832,-5.643),(-24.011,-4.659),(-24.165,-3.594),(-24.243,-2.908),(-24.312,-2.118),(-24.312,-0.153),(-24.295,-0.993),(-24.249,-1.908),(-24.188,-2.67),(-24.088,-3.583),(-23.971,-4.417),(-23.801,-5.399),(-23.562,-6.525),(-23.298,-7.57)],
  [(-20.55,-6.677),(-20.732,-5.953),(-20.906,-5.158),(-21.043,-4.427),(-21.162,-3.673),(-21.162,-0.266),(-21.144,-0.997),(-21.096,-1.86),(-21.039,-2.524),(-20.957,-3.252),(-20.822,-4.176),(-20.705,-4.833),(-20.542,-5.62),(-20.303,-6.597)])
te1550_subgc_neg31_oxide.add(gdstk.Label('Ref: Yun Wang, Optics Express, 08/2014', (-33,0), layer=10, texttype=0))
te1550_subgc_neg31_oxide.add(gdstk.Label('http://dx.doi.org/10.1364/OE.22.020652', (-33,-2), layer=10, texttype=0))
te1550_subgc_neg31_oxide.add(gdstk.Label('TE 1550 -31 deg', (-33,2), layer=10, texttype=0))

opticalfibre_9micron = lib.new_cell('OpticalFibre_9micron')
P(opticalfibre_9micron, L81_0, [(-0.221,-4.5),(-0.661,-4.457),(-1.095,-4.37),(-1.518,-4.242),(-1.926,-4.073),(-2.316,-3.864),(-2.684,-3.619),(-3.026,-3.338),(-3.338,-3.026),(-3.619,-2.684),(-3.864,-2.316),(-4.073,-1.926),(-4.242,-1.518),(-4.37,-1.095),(-4.457,-0.661),(-4.5,-0.221),(-4.5,0.221),(-4.457,0.661),(-4.37,1.095),(-4.242,1.518),(-4.073,1.926),(-3.864,2.316),(-3.619,2.684),(-3.338,3.026),(-3.026,3.338),(-2.684,3.619),(-2.316,3.864),(-1.926,4.073),(-1.518,4.242),(-1.095,4.37),(-0.661,4.457),(-0.221,4.5),(0.221,4.5),(0.661,4.457),(1.095,4.37),(1.518,4.242),(1.926,4.073),(2.316,3.864),(2.684,3.619),(3.026,3.338),(3.338,3.026),(3.619,2.684),(3.864,2.316),(4.073,1.926),(4.242,1.518),(4.37,1.095),(4.457,0.661),(4.5,0.221),(4.5,-0.221),(4.457,-0.661),(4.37,-1.095),(4.242,-1.518),(4.073,-1.926),(3.864,-2.316),(3.619,-2.684),(3.338,-3.026),(3.026,-3.338),(2.684,-3.619),(2.316,-3.864),(1.926,-4.073),(1.518,-4.242),(1.095,-4.37),(0.661,-4.457),(0.221,-4.5)])

grating_coupler_te_1550 = lib.new_cell('Grating_Coupler_TE_1550')
P(grating_coupler_te_1550, L10_0, [(-6.8,-8),(-6.8,-4.4),(-8,-4.4),(-8,-3.8),(-5,-3.8),(-5,-4.4),(-6.2,-4.4),(-6.2,-8)],
  [(-4.4,-8),(-4.4,-3.8),(-1.4,-3.8),(-1.4,-4.4),(-3.8,-4.4),(-3.8,-5.6),(-2.6,-5.6),(-2.6,-6.2),(-3.8,-6.2),(-3.8,-7.4),(-1.4,-7.4),(-1.4,-8)])
P(grating_coupler_te_1550, L68_0, [(-31.6,-10.7),(-33,-4),(-33,4),(-31.6,10.7),(0,0.4),(0,-0.4)])
grating_coupler_te_1550.add(gdstk.FlexPath([(0.1,0),(-0.1,0)], 0.5, ends="flush", simple_path=True, layer=69, datatype=0))  # L69_0
grating_coupler_te_1550.add(gdstk.Reference(te1550_subgc_neg31_oxide, (0,0)))
grating_coupler_te_1550.add(gdstk.Reference(opticalfibre_9micron, (-20.4,0)))
grating_coupler_te_1550.add(gdstk.Label('pin1', (0,0), layer=69, texttype=0))
grating_coupler_te_1550.add(gdstk.Label('Lumerical_INTERCONNECT_library=Design kits/ebeam_v1.2', (-25.36,-9.19), layer=68, texttype=0))

lib.write_gds('Grating_Coupler_TE_1550.gds')
